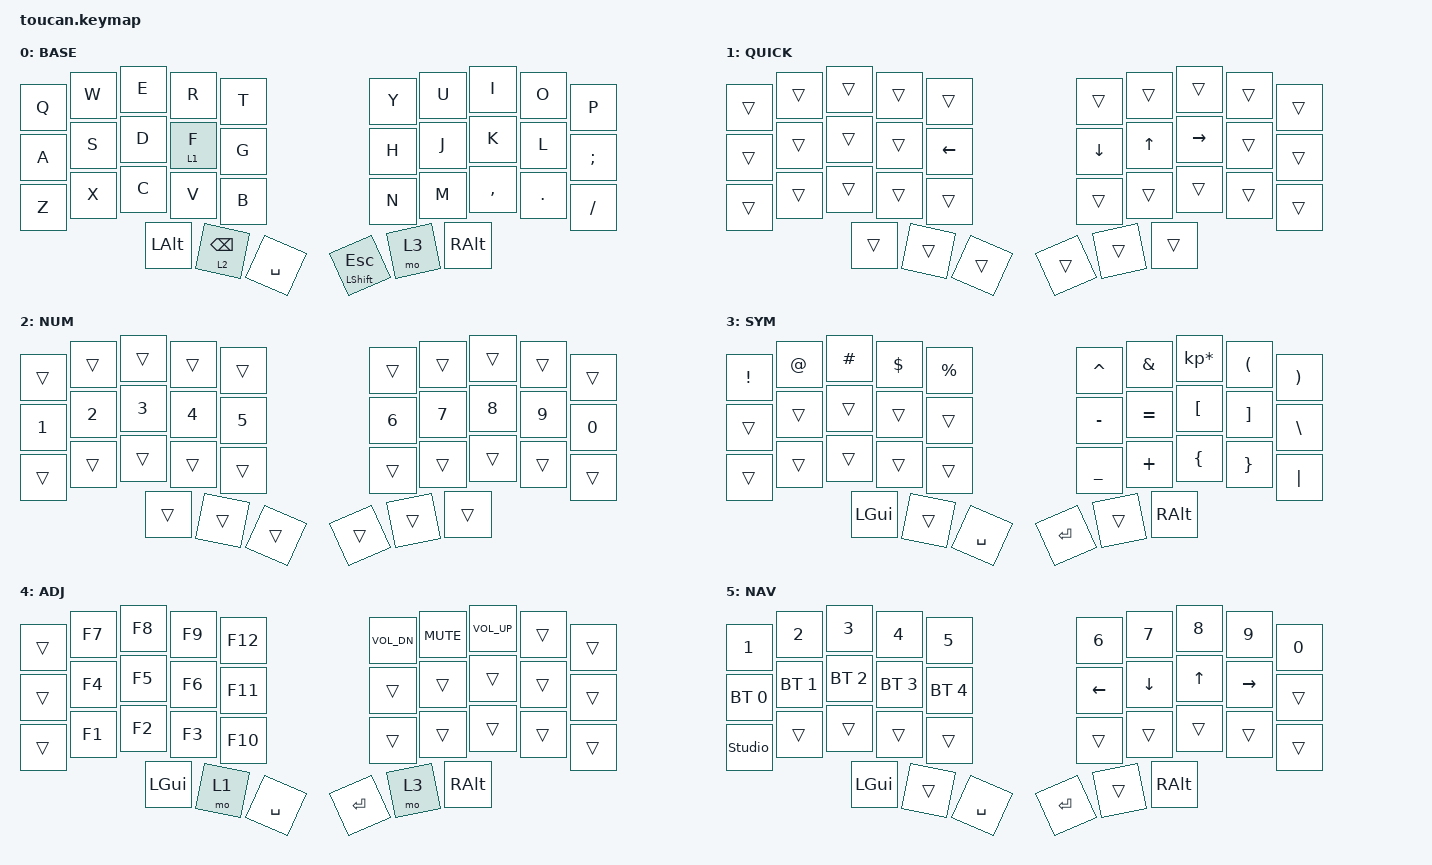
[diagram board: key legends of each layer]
#include <behaviors.dtsi>
#include <dt-bindings/zmk/bt.h>
#include <dt-bindings/zmk/keys.h>

#define BASE 0
#define NAV  1
#define SYM  2
#define ADJ  3

/ {
    conditional_layers {
        compatible = "zmk,conditional-layers";

        tri_layer {
            if-layers = <1 3>;
            then-layer = <4>;
        };
    };

    keymap {
        compatible = "zmk,keymap";

        base {
            display-name = "BASE";
            bindings = <
&kp Q  &kp W  &kp E  &kp R  &kp T  &kp Y  &kp U  &kp I  &kp O  &kp P  &kp A  &kp S  &kp D  &lt 1 F  &kp G  &kp H  &kp J  &kp K  &kp L  &kp SEMI  &kp Z  &kp X  &kp C  &kp V  &kp B  &kp N  &kp M  &kp COMMA  &kp DOT  &kp FSLH  &kp LEFT_ALT  &lt 2 BACKSPACE  &kp SPACE  &mt LEFT_SHIFT ESCAPE  &mo 3  &kp RALT
            >;
        };

        quick {
            bindings = <
&trans  &trans  &trans  &trans  &trans  &trans  &trans  &trans  &trans  &trans  &trans  &trans  &trans  &trans  &kp LEFT  &kp DOWN  &kp UP  &kp RIGHT  &trans  &trans  &trans  &trans  &trans  &trans  &trans  &trans  &trans  &trans  &trans  &trans  &trans  &trans  &trans  &trans  &trans  &trans
            >;

            label = "QUICK";
        };

        NUM {
            bindings = <
&trans  &trans  &trans  &trans  &trans  &trans  &trans  &trans  &trans  &trans  &kp N1  &kp N2  &kp N3  &kp N4  &kp N5  &kp N6  &kp N7  &kp N8  &kp N9  &kp N0  &trans  &trans  &trans  &trans  &trans  &trans  &trans  &trans  &trans  &trans  &trans  &trans  &trans  &trans  &trans  &trans
            >;
        };

        sym {
            display-name = "SYM";
            bindings = <
&kp EXCL  &kp AT  &kp HASH  &kp DLLR  &kp PRCNT  &kp CARET  &kp AMPS  &kp KP_MULTIPLY  &kp LPAR  &kp RPAR  &trans  &trans  &trans  &trans  &trans  &kp MINUS  &kp EQUAL  &kp LBKT  &kp RBKT  &kp BSLH  &trans  &trans  &trans  &trans  &trans  &kp UNDER  &kp PLUS  &kp LBRC  &kp RBRC  &kp PIPE  &kp LGUI  &trans  &kp SPACE  &kp RET  &trans  &kp RALT
            >;
        };

        adj {
            display-name = "ADJ";
            bindings = <
&trans  &kp F7  &kp F8  &kp F9  &kp F12  &kp C_VOL_DN  &kp C_MUTE  &kp C_VOL_UP  &trans  &trans  &trans  &kp F4  &kp F5  &kp F6  &kp F11  &trans  &trans  &trans  &trans  &trans  &trans  &kp F1  &kp F2  &kp F3  &kp F10  &trans  &trans  &trans  &trans  &trans  &kp LGUI  &mo 1  &kp SPACE  &kp RET  &mo 3  &kp RALT
            >;
        };

        nav {
            display-name = "NAV";
            bindings = <
&kp N1  &kp N2  &kp N3  &kp N4  &kp N5  &kp N6  &kp N7  &kp N8  &kp N9  &kp N0  &bt BT_SEL 0  &bt BT_SEL 1  &bt BT_SEL 2  &bt BT_SEL 3  &bt BT_SEL 4  &kp LEFT  &kp DOWN  &kp UP  &kp RIGHT  &trans  &studio_unlock  &trans  &trans  &trans  &trans  &trans  &trans  &trans  &trans  &trans  &kp LGUI  &trans  &kp SPACE  &kp RET  &trans  &kp RALT
            >;
        };
    };
};
